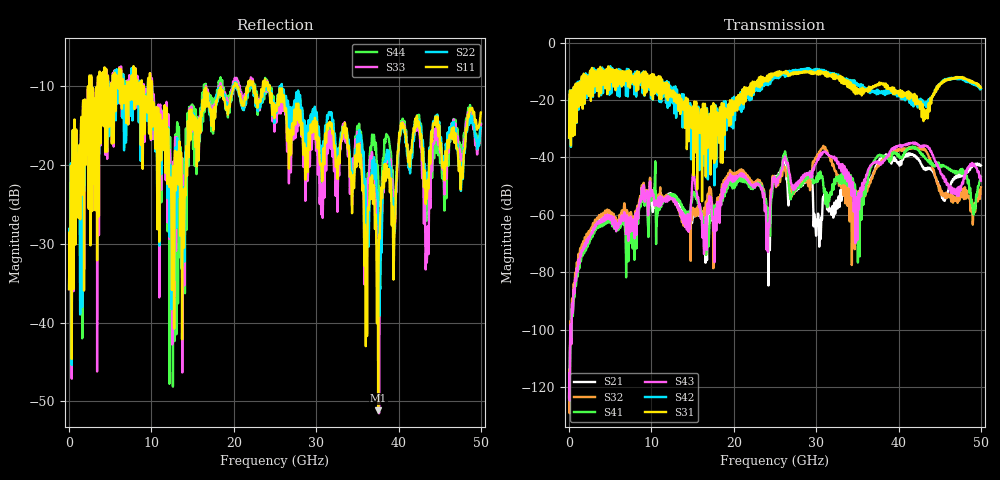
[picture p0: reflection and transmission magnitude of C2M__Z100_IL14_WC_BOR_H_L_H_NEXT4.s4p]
# GHz S MA R 50
! S-Parameters data
! Freq  magS11  angS11  magS12  angS12  magS13  angS13  magS14  angS14
!  magS21  angS21  magS22  angS22  magS23  angS23  magS24  angS24
!  magS31  angS31  magS32  angS32  magS33  angS33  magS34  angS34
!  magS41  angS41  magS42  angS42  magS43  angS43  magS44  angS44
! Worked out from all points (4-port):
!   5000 points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, 10 MHz to 50 GHz, reference 50 ohm
!   strongest paths, dB at 10 MHz, 12.51 GHz, 25.01 GHz, 37.51 GHz, 50 GHz:
!     S31: -33.1, -18.6, -10.7, -14.6, -15.7
!     S42: -33.1, -16.5, -11.6, -17.6, -16.1
!     S43: -123.3, -54.6, -47.4, -41.6, -48.1
!     S41: -124.6, -52.8, -47.2, -39.3, -46.8
!     S32: -122.1, -54.5, -48.0, -43.0, -50.4
!     S21: -123.8, -52.7, -46.8, -41.5, -42.8
!   lowest |S11| = -51.1 dB at 37.53 GHz (marker M1), VSWR 1.01, Z = 50.2 + j0.202 ohm
!   |S11| at or under -10 dB: start of sweep to 2.29 GHz; 10.07 GHz to 19.95 GHz (9.878 GHz wide, 65.8 % of centre); 24.35 GHz to end of sweep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
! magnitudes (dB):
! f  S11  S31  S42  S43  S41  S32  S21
! 10 MHz  -35.7  -33.1  -33.1  -123.3  -124.6  -122.1  -123.8
! 4.12 GHz  -8.2  -14.7  -17.1  -61.5  -63.0  -59.6  -61.2
! 12.58 GHz  -22.6  -18.2  -21.2  -54.3  -53.4  -54.3  -53.0
! 22.09 GHz  -9.4  -14.5  -15.6  -49.7  -50.9  -48.3  -49.7
! 35.28 GHz  -18.5  -17.7  -15.2  -53.9  -74.5  -52.9  -55.2
! 37.53 GHz  -51.1  -14.7  -17.9  -41.8  -39.4  -43.1  -41.5
! 50 GHz  -13.3  -15.7  -16.1  -48.1  -46.8  -50.4  -42.8
